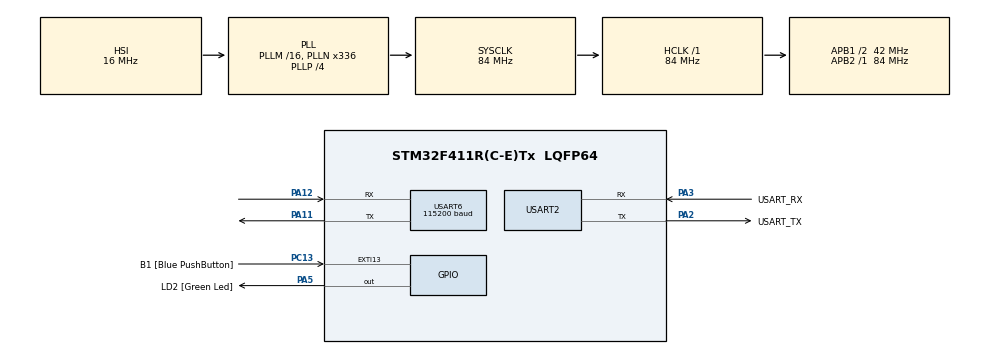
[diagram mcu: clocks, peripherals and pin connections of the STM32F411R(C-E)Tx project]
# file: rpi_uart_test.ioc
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Mcu.Family=STM32F4
Mcu.Name=STM32F411R(C-E)Tx
Mcu.Package=LQFP64
NVIC.PriorityGroup=NVIC_PRIORITYGROUP_0
NVIC.USART6_IRQn=true\:0\:0\:false\:false\:true\:true\:true\:true
PA11.Mode=Asynchronous
PA11.Signal=USART6_TX
PA12.Mode=Asynchronous
PA12.Signal=USART6_RX
PA13.GPIO_Label=TMS
PA13.Mode=Serial_Wire
PA13.Signal=SYS_JTMS-SWDIO
PA14.GPIO_Label=TCK
PA14.Mode=Serial_Wire
PA14.Signal=SYS_JTCK-SWCLK
PA2.GPIO_Label=USART_TX
PA2.Mode=Asynchronous
PA2.Signal=USART2_TX
PA3.GPIO_Label=USART_RX
PA3.Mode=Asynchronous
PA3.Signal=USART2_RX
PA5.GPIO_Label=LD2 [Green Led]
PA5.Signal=GPIO_Output
PB3.GPIO_Label=SWO
PB3.Signal=SYS_JTDO-SWO
PC13-ANTI_TAMP.GPIO_Label=B1 [Blue PushButton]
PC13-ANTI_TAMP.GPIO_ModeDefaultEXTI=GPIO_MODE_IT_FALLING
PC13-ANTI_TAMP.Signal=GPXTI13
PC14-OSC32_IN.Mode=LSE-External-Oscillator
PC14-OSC32_IN.Signal=RCC_OSC32_IN
PC15-OSC32_OUT.Mode=LSE-External-Oscillator
PC15-OSC32_OUT.Signal=RCC_OSC32_OUT
PH0\ -\ OSC_IN.Mode=HSE-External-Clock-Source
PH0\ -\ OSC_IN.Signal=RCC_OSC_IN
PH1\ -\ OSC_OUT.Mode=HSE-External-Clock-Source
PH1\ -\ OSC_OUT.Signal=RCC_OSC_OUT
ProjectManager.HeapSize=0x200
ProjectManager.StackSize=0x400
ProjectManager.TargetToolchain=STM32CubeIDE
RCC.48MHZClocksFreq_Value=84000000
RCC.AHBFreq_Value=84000000
RCC.APB1CLKDivider=RCC_HCLK_DIV2
RCC.APB1Freq_Value=42000000
RCC.APB1TimFreq_Value=84000000
RCC.APB2Freq_Value=84000000
RCC.APB2TimFreq_Value=84000000
RCC.CortexFreq_Value=84000000
RCC.FLatency-AdvancedSettings=FLASH_LATENCY_2
RCC.HCLKFreq_Value=84000000
RCC.HSE_VALUE=8000000
RCC.HSI_VALUE=16000000
RCC.PLLN=336
RCC.PLLP=RCC_PLLP_DIV4
RCC.SYSCLKFreq_VALUE=84000000
RCC.SYSCLKSource=RCC_SYSCLKSOURCE_PLLCLK
RCC.VCOOutputFreq_Value=336000000
USART2.VirtualMode=VM_ASYNC
USART6.BaudRate=115200
USART6.VirtualMode=VM_ASYNC
board=NUCLEO-F411RE

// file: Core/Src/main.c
/* USER CODE BEGIN Header */
/**
  ******************************************************************************
  * @file           : main.c
  * @brief          : Main program body
  ******************************************************************************
  * @attention
  *
  * Copyright (c) 2025 STMicroelectronics.
  * All rights reserved.
  *
  * This software is licensed under terms that can be found in the LICENSE file
  * in the root directory of this software component.
  * If no LICENSE file comes with this software, it is provided AS-IS.
  *
  ******************************************************************************
  */
/* USER CODE END Header */
#include "main.h"

/* USER CODE BEGIN Includes */
#include <string.h>
#include <stdio.h>
/* USER CODE END Includes */

/* USER CODE BEGIN PD */
#ifdef __GNUC__
/* With GCC, small printf (option LD Linker->Libraries->Small printf
   set to 'Yes') calls __io_putchar() */
#define PUTCHAR_PROTOTYPE int __io_putchar(int ch)
#else
#define PUTCHAR_PROTOTYPE int fputc(int ch, FILE *f)
#endif /* __GNUC__ */
/* USER CODE END PD */

UART_HandleTypeDef huart2;
UART_HandleTypeDef huart6;

/* USER CODE BEGIN PV */
#define RX_BUF_SIZE 256
char rxBuf[RX_BUF_SIZE];
volatile uint8_t rx_ch;
volatile uint8_t rx_index = 0;
volatile uint8_t uart6_flag = 0;
/* USER CODE END PV */

void SystemClock_Config(void);
static void MX_GPIO_Init(void);
static void MX_USART2_UART_Init(void);
static void MX_USART6_UART_Init(void);

int main(void)
{

  /* MCU Configuration--------------------------------------------------------*/

  /* Reset of all peripherals, Initializes the Flash interface and the Systick. */
  HAL_Init();

  /* Configure the system clock */
  SystemClock_Config();

  /* Initialize all configured peripherals */
  MX_GPIO_Init();
  MX_USART2_UART_Init();
  MX_USART6_UART_Init();
  /* USER CODE BEGIN 2 */

  HAL_UART_Receive_IT(&huart6, &rx_ch, 1);
  printf("STM32 UART6 Test\r\n");
  /* USER CODE END 2 */

  /* Infinite loop */
  while (1)
  {

    /* USER CODE BEGIN 3 */
	  if (uart6_flag)
	  {
		  rxBuf[rx_index] = '\0'; // null-terminate
		  printf("Received: %s\r\n", rxBuf);

		  strcat(rxBuf, "\n");
		  HAL_UART_Transmit(&huart6, &rxBuf, rx_index + 1, HAL_MAX_DELAY);

		  rx_index = 0;
		  uart6_flag = 0;

		  memset(rxBuf, 0, sizeof(rxBuf));
	  }
  }
  /* USER CODE END 3 */
}

void SystemClock_Config(void)
{
  RCC_OscInitTypeDef RCC_OscInitStruct = {0};
  RCC_ClkInitTypeDef RCC_ClkInitStruct = {0};

  /** Configure the main internal regulator output voltage
  */
  __HAL_RCC_PWR_CLK_ENABLE();
  __HAL_PWR_VOLTAGESCALING_CONFIG(PWR_REGULATOR_VOLTAGE_SCALE1);

  /** Initializes the RCC Oscillators according to the specified parameters
  * in the RCC_OscInitTypeDef structure.
  */
  RCC_OscInitStruct.OscillatorType = RCC_OSCILLATORTYPE_HSI;
  RCC_OscInitStruct.HSIState = RCC_HSI_ON;
  RCC_OscInitStruct.HSICalibrationValue = RCC_HSICALIBRATION_DEFAULT;
  RCC_OscInitStruct.PLL.PLLState = RCC_PLL_ON;
  RCC_OscInitStruct.PLL.PLLSource = RCC_PLLSOURCE_HSI;
  RCC_OscInitStruct.PLL.PLLM = 16;
  RCC_OscInitStruct.PLL.PLLN = 336;
  RCC_OscInitStruct.PLL.PLLP = RCC_PLLP_DIV4;
  RCC_OscInitStruct.PLL.PLLQ = 4;
  if (HAL_RCC_OscConfig(&RCC_OscInitStruct) != HAL_OK)
  {
    Error_Handler();
  }

  /** Initializes the CPU, AHB and APB buses clocks
  */
  RCC_ClkInitStruct.ClockType = RCC_CLOCKTYPE_HCLK|RCC_CLOCKTYPE_SYSCLK
                              |RCC_CLOCKTYPE_PCLK1|RCC_CLOCKTYPE_PCLK2;
  RCC_ClkInitStruct.SYSCLKSource = RCC_SYSCLKSOURCE_PLLCLK;
  RCC_ClkInitStruct.AHBCLKDivider = RCC_SYSCLK_DIV1;
  RCC_ClkInitStruct.APB1CLKDivider = RCC_HCLK_DIV2;
  RCC_ClkInitStruct.APB2CLKDivider = RCC_HCLK_DIV1;

  if (HAL_RCC_ClockConfig(&RCC_ClkInitStruct, FLASH_LATENCY_2) != HAL_OK)
  {
    Error_Handler();
  }
}

static void MX_USART2_UART_Init(void)
{

  huart2.Instance = USART2;
  huart2.Init.BaudRate = 115200;
  huart2.Init.WordLength = UART_WORDLENGTH_8B;
  huart2.Init.StopBits = UART_STOPBITS_1;
  huart2.Init.Parity = UART_PARITY_NONE;
  huart2.Init.Mode = UART_MODE_TX_RX;
  huart2.Init.HwFlowCtl = UART_HWCONTROL_NONE;
  huart2.Init.OverSampling = UART_OVERSAMPLING_16;
  if (HAL_UART_Init(&huart2) != HAL_OK)
  {
    Error_Handler();
  }

}

static void MX_USART6_UART_Init(void)
{

  huart6.Instance = USART6;
  huart6.Init.BaudRate = 115200;
  huart6.Init.WordLength = UART_WORDLENGTH_8B;
  huart6.Init.StopBits = UART_STOPBITS_1;
  huart6.Init.Parity = UART_PARITY_NONE;
  huart6.Init.Mode = UART_MODE_TX_RX;
  huart6.Init.HwFlowCtl = UART_HWCONTROL_NONE;
  huart6.Init.OverSampling = UART_OVERSAMPLING_16;
  if (HAL_UART_Init(&huart6) != HAL_OK)
  {
    Error_Handler();
  }

}

static void MX_GPIO_Init(void)
{
  GPIO_InitTypeDef GPIO_InitStruct = {0};

  /* GPIO Ports Clock Enable */
  __HAL_RCC_GPIOC_CLK_ENABLE();
  __HAL_RCC_GPIOH_CLK_ENABLE();
  __HAL_RCC_GPIOA_CLK_ENABLE();
  __HAL_RCC_GPIOB_CLK_ENABLE();

  /*Configure GPIO pin Output Level */
  HAL_GPIO_WritePin(LD2_GPIO_Port, LD2_Pin, GPIO_PIN_RESET);

  /*Configure GPIO pin : B1_Pin */
  GPIO_InitStruct.Pin = B1_Pin;
  GPIO_InitStruct.Mode = GPIO_MODE_IT_FALLING;
  GPIO_InitStruct.Pull = GPIO_NOPULL;
  HAL_GPIO_Init(B1_GPIO_Port, &GPIO_InitStruct);

  /*Configure GPIO pin : LD2_Pin */
  GPIO_InitStruct.Pin = LD2_Pin;
  GPIO_InitStruct.Mode = GPIO_MODE_OUTPUT_PP;
  GPIO_InitStruct.Pull = GPIO_NOPULL;
  GPIO_InitStruct.Speed = GPIO_SPEED_FREQ_LOW;
  HAL_GPIO_Init(LD2_GPIO_Port, &GPIO_InitStruct);

}

/* USER CODE BEGIN 4 */
void HAL_UART_RxCpltCallback(UART_HandleTypeDef *huart)
{
  if (huart->Instance == USART6)
  {
    if (rx_ch == '\n')
    {
    	uart6_flag = 1;
    }
    else
    {
      if (rx_index < RX_BUF_SIZE - 1)
      {
        rxBuf[rx_index++] = rx_ch;
      }
    }

    // 다시 수신 요청
    HAL_UART_Receive_IT(&huart6, &rx_ch, 1);
  }
}

PUTCHAR_PROTOTYPE
{
  /* Place your implementation of fputc here */
  /* e.g. write a character to the USART6 and Loop until the end of transmission */
  HAL_UART_Transmit(&huart2, (uint8_t *)&ch, 1, 0xFFFF);

  return ch;
}
/* USER CODE END 4 */

void Error_Handler(void)
{
  __disable_irq();
  while (1)
  {
  }
}
